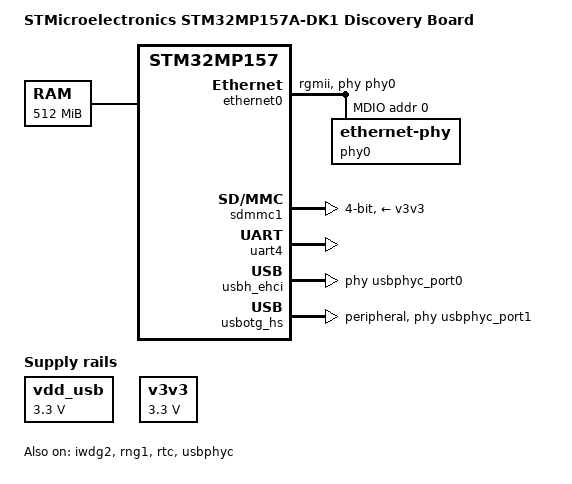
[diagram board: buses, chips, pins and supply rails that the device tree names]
// SPDX-License-Identifier: (GPL-2.0+ OR BSD-3-Clause)
/*
 * Copyright (C) STMicroelectronics 2018 - All Rights Reserved
 * Author: Alexandre Torgue <alexandre.torgue@st.com>.
 */

/dts-v1/;

#include "stm32mp157c.dtsi"
#include "stm32mp157-pinctrl.dtsi"
#include <dt-bindings/gpio/gpio.h>
#include <dt-bindings/input/input.h>

/ {
	model = "STMicroelectronics STM32MP157A-DK1 Discovery Board";
	compatible = "st,stm32mp157a-dk1", "st,stm32mp157";

	aliases {
		ethernet0 = &ethernet0;
		serial0 = &uart4;
	};

	chosen {
		stdout-path = "serial0:115200n8";
	};

	memory@c0000000 {
		reg = <0xc0000000 0x20000000>;
	};

	usb_phy_tuning: usb-phy-tuning {
		st,hs-dc-level = <2>;
		st,fs-rftime-tuning;
		st,hs-rftime-reduction;
		st,hs-current-trim = <15>;
		st,hs-impedance-trim = <1>;
		st,squelch-level = <3>;
		st,hs-rx-offset = <2>;
		st,no-lsfs-sc;
	};

	vdd_usb: vdd-usb {
		compatible = "regulator-fixed";
		regulator-name = "vdd_usb";
		regulator-min-microvolt = <3300000>;
		regulator-max-microvolt = <3300000>;
		regulator-always-on;
	};

	v3v3: vdd-3v3 {
		compatible = "regulator-fixed";
		regulator-name = "vdd_3v3";
		regulator-min-microvolt = <3300000>;
		regulator-max-microvolt = <3300000>;
		regulator-always-on;
	};
};

&ethernet0 {
	status = "okay";
	pinctrl-0 = <&ethernet0_rgmii_pins_a>;
	pinctrl-1 = <&ethernet0_rgmii_pins_sleep_a>;
	pinctrl-names = "default", "sleep";
	phy-mode = "rgmii";
	max-speed = <1000>;
	phy-handle = <&phy0>;

	mdio0 {
		#address-cells = <1>;
		#size-cells = <0>;
		compatible = "snps,dwmac-mdio";
		phy0: ethernet-phy@0 {
			reg = <0>;
		};
	};
};

&iwdg2 {
	timeout-sec = <32>;
	status = "okay";
};

&rng1 {
	status = "okay";
};

&rtc {
	status = "okay";
};

&sdmmc1 {
	pinctrl-names = "default", "opendrain", "sleep";
	pinctrl-0 = <&sdmmc1_b4_pins_a>;
	pinctrl-1 = <&sdmmc1_b4_od_pins_a>;
	pinctrl-2 = <&sdmmc1_b4_sleep_pins_a>;
	broken-cd;
	st,neg-edge;
	bus-width = <4>;
	vmmc-supply = <&v3v3>;
	status = "okay";
};



&uart4 {
	pinctrl-names = "default";
	pinctrl-0 = <&uart4_pins_a>;
	status = "okay";
};


&usbh_ehci {
	phys = <&usbphyc_port0>;
	phy-names = "usb";
	status = "okay";
};

&usbotg_hs {
	dr_mode = "peripheral";
	force-b-session-valid;
	phys = <&usbphyc_port1 0>;
	phy-names = "usb2-phy";
	status = "okay";
};

&usbphyc {
	vdd3v3-supply = <&vdd_usb>;
	status = "okay";
};

&usbphyc_port0 {
	st,phy-tuning = <&usb_phy_tuning>;
};

&usbphyc_port1 {
	st,phy-tuning = <&usb_phy_tuning>;
};
